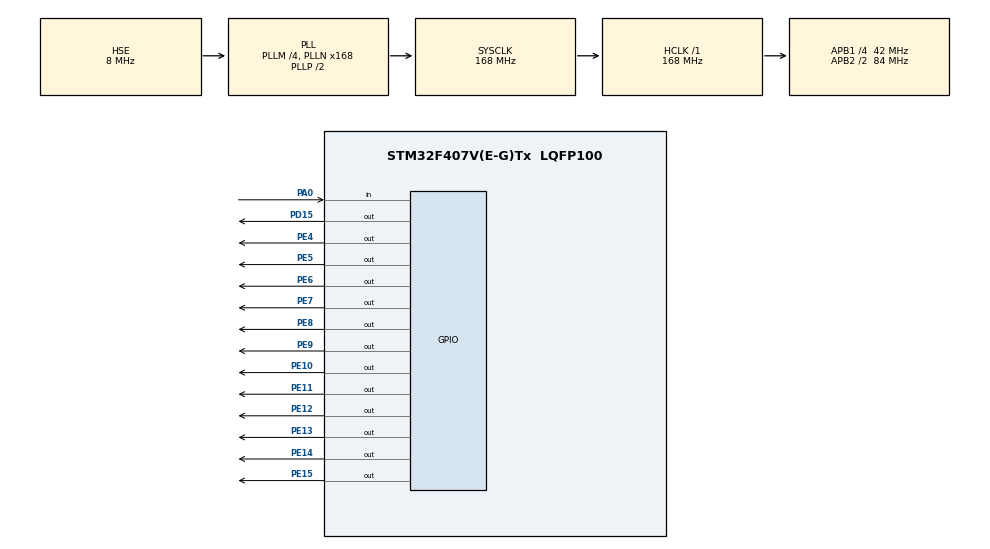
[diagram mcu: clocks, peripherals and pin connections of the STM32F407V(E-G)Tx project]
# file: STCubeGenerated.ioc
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Mcu.Family=STM32F4
Mcu.Name=STM32F407V(E-G)Tx
Mcu.Package=LQFP100
NVIC.PriorityGroup=NVIC_PRIORITYGROUP_4
NVIC.TIM5_IRQn=true\:0\:0\:true\:false\:true\:true\:true\:true
NVIC.TIM7_IRQn=true\:1\:0\:true\:false\:true\:true\:true\:true
PA0-WKUP.Signal=GPIO_Input
PD15.Signal=GPIO_Output
PE10.Signal=GPIO_Output
PE11.Signal=GPIO_Output
PE12.Signal=GPIO_Output
PE13.Signal=GPIO_Output
PE14.Signal=GPIO_Output
PE15.Signal=GPIO_Output
PE4.Signal=GPIO_Output
PE5.Signal=GPIO_Output
PE6.Signal=GPIO_Output
PE7.Signal=GPIO_Output
PE8.Signal=GPIO_Output
PE9.Signal=GPIO_Output
PH0-OSC_IN.Mode=HSE-External-Oscillator
PH0-OSC_IN.Signal=RCC_OSC_IN
PH1-OSC_OUT.Mode=HSE-External-Oscillator
PH1-OSC_OUT.Signal=RCC_OSC_OUT
ProjectManager.HeapSize=0x200
ProjectManager.StackSize=0x400
ProjectManager.TargetToolchain=MDK-ARM V5
RCC.48MHZClocksFreq_Value=84000000
RCC.AHBFreq_Value=168000000
RCC.APB1CLKDivider=RCC_HCLK_DIV4
RCC.APB1Freq_Value=42000000
RCC.APB1TimFreq_Value=84000000
RCC.APB2CLKDivider=RCC_HCLK_DIV2
RCC.APB2Freq_Value=84000000
RCC.APB2TimFreq_Value=168000000
RCC.CortexFreq_Value=168000000
RCC.HCLKFreq_Value=168000000
RCC.HSE_VALUE=8000000
RCC.HSI_VALUE=16000000
RCC.LSE_VALUE=32768
RCC.PLLM=4
RCC.PLLN=168
RCC.PLLSourceVirtual=RCC_PLLSOURCE_HSE
RCC.SYSCLKFreq_VALUE=168000000
RCC.SYSCLKSource=RCC_SYSCLKSOURCE_PLLCLK
RCC.VCOOutputFreq_Value=336000000
TIM5.Period=20-1
TIM5.Prescaler=42000-1
TIM7.Period=10-1
TIM7.Prescaler=28000-1
VP_TIM5_VS_ClockSourceINT.Mode=Internal
VP_TIM7_VS_ClockSourceINT.Mode=Enable_Timer
board=custom

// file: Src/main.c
/* USER CODE BEGIN Header */
/**
  ******************************************************************************
  * @file           : main.c
  * @brief          : Main program body
  ******************************************************************************
  * @attention
  *
  * Copyright (c) 2023 STMicroelectronics.
  * All rights reserved.
  *
  * This software is licensed under terms that can be found in the LICENSE file
  * in the root directory of this software component.
  * If no LICENSE file comes with this software, it is provided AS-IS.
  *
  ******************************************************************************
  */
/* USER CODE END Header */
#include "main.h"

TIM_HandleTypeDef htim5;
TIM_HandleTypeDef htim7;

void SystemClock_Config(void);
static void MX_GPIO_Init(void);
static void MX_TIM7_Init(void);
static void MX_TIM5_Init(void);

/* USER CODE BEGIN 0 */
int test=0;
//const char ledCode[10]={0x3F, 0x06, 0x5B, 0x4F, 0x66, 0x6D, 0x7C, 0x07, 0x7F, 0x67};
uint32_t ledCode[10]={0x3F, 0x06, 0x5B, 0x4F, 0x66, 0x6D, 0x7C, 0x07, 0x7F, 0x67};

uint32_t position=0;
uint32_t counter_sec=0;		// stopeatch value
uint32_t counter_frac=0;		// stopeatch value
uint32_t counter=0;
uint32_t display[4];	// used for 7sdisplay

// abcdefgh
// 1101101

void HAL_TIM_PeriodElapsedCallback(TIM_HandleTypeDef *htim)
{

	// display control
	if (htim == &htim7 )
  {
		counter=counter_frac+counter_sec*100;

		display[3]=counter%10;
		display[2]=(counter%100)/10;
		display[1]=(counter%1000)/100;
		display[0]=(counter)/1000;

		if (position==4)
		{
			position=0;
		} else {

			{
				// clear display
				HAL_GPIO_WritePin(GPIOE, (0xFFF<<4), 0);

				// put the point
				if (position==1)
					HAL_GPIO_WritePin(GPIOE, (128<<8), 1); //dd[position]

				// write new number
				HAL_GPIO_WritePin(GPIOE, (ledCode[display[position]]<<8)+(1<<(position+4)), 1); //dd[position]

			}
			position++;
		}
	}

	// stopwatch period 10ms
	if (htim == &htim5 )
  {
		counter_frac++;
		if (counter_frac==100)
		{
			counter_frac=0;
			counter_sec++;
		}

		if (counter_sec==100)
		{
			counter_sec=0;
			//counter_frac=0;
		}

	}

  // toggle the led on every 0.5 sec
  if (htim == &htim5 )
  {
    test++;
		if (test==50)
		{
			HAL_GPIO_TogglePin(GPIOD, GPIO_PIN_15);
			test=0;
		}

  }

	// stopwatch code
	if (htim == &htim7 )
	{

	}

}

/* USER CODE END 0 */

int main(void)
{

  /* MCU Configuration--------------------------------------------------------*/

  /* Reset of all peripherals, Initializes the Flash interface and the Systick. */
  HAL_Init();

  /* Configure the system clock */
  SystemClock_Config();

  /* Initialize all configured peripherals */
  MX_GPIO_Init();
  MX_TIM7_Init();
  MX_TIM5_Init();

  /* Infinite loop */
  /* USER CODE BEGIN WHILE */
  while (1)
  {
		if (HAL_GPIO_ReadPin(GPIOA, GPIO_PIN_0))
		{
			counter=0;
			while(HAL_GPIO_ReadPin(GPIOA, GPIO_PIN_0));

		}

    /* USER CODE END WHILE */

  }
}

void SystemClock_Config(void)
{
  RCC_OscInitTypeDef RCC_OscInitStruct = {0};
  RCC_ClkInitTypeDef RCC_ClkInitStruct = {0};

  /** Configure the main internal regulator output voltage
  */
  __HAL_RCC_PWR_CLK_ENABLE();
  __HAL_PWR_VOLTAGESCALING_CONFIG(PWR_REGULATOR_VOLTAGE_SCALE1);

  /** Initializes the RCC Oscillators according to the specified parameters
  * in the RCC_OscInitTypeDef structure.
  */
  RCC_OscInitStruct.OscillatorType = RCC_OSCILLATORTYPE_HSE;
  RCC_OscInitStruct.HSEState = RCC_HSE_ON;
  RCC_OscInitStruct.PLL.PLLState = RCC_PLL_ON;
  RCC_OscInitStruct.PLL.PLLSource = RCC_PLLSOURCE_HSE;
  RCC_OscInitStruct.PLL.PLLM = 4;
  RCC_OscInitStruct.PLL.PLLN = 168;
  RCC_OscInitStruct.PLL.PLLP = RCC_PLLP_DIV2;
  RCC_OscInitStruct.PLL.PLLQ = 4;
  if (HAL_RCC_OscConfig(&RCC_OscInitStruct) != HAL_OK)
  {
    Error_Handler();
  }

  /** Initializes the CPU, AHB and APB buses clocks
  */
  RCC_ClkInitStruct.ClockType = RCC_CLOCKTYPE_HCLK|RCC_CLOCKTYPE_SYSCLK
                              |RCC_CLOCKTYPE_PCLK1|RCC_CLOCKTYPE_PCLK2;
  RCC_ClkInitStruct.SYSCLKSource = RCC_SYSCLKSOURCE_PLLCLK;
  RCC_ClkInitStruct.AHBCLKDivider = RCC_SYSCLK_DIV1;
  RCC_ClkInitStruct.APB1CLKDivider = RCC_HCLK_DIV4;
  RCC_ClkInitStruct.APB2CLKDivider = RCC_HCLK_DIV2;

  if (HAL_RCC_ClockConfig(&RCC_ClkInitStruct, FLASH_LATENCY_5) != HAL_OK)
  {
    Error_Handler();
  }
}

static void MX_TIM5_Init(void)
{

  TIM_ClockConfigTypeDef sClockSourceConfig = {0};
  TIM_MasterConfigTypeDef sMasterConfig = {0};

  htim5.Instance = TIM5;
  htim5.Init.Prescaler = 42000-1;
  htim5.Init.CounterMode = TIM_COUNTERMODE_UP;
  htim5.Init.Period = 20-1;
  htim5.Init.ClockDivision = TIM_CLOCKDIVISION_DIV1;
  htim5.Init.AutoReloadPreload = TIM_AUTORELOAD_PRELOAD_DISABLE;
  if (HAL_TIM_Base_Init(&htim5) != HAL_OK)
  {
    Error_Handler();
  }
  sClockSourceConfig.ClockSource = TIM_CLOCKSOURCE_INTERNAL;
  if (HAL_TIM_ConfigClockSource(&htim5, &sClockSourceConfig) != HAL_OK)
  {
    Error_Handler();
  }
  sMasterConfig.MasterOutputTrigger = TIM_TRGO_RESET;
  sMasterConfig.MasterSlaveMode = TIM_MASTERSLAVEMODE_DISABLE;
  if (HAL_TIMEx_MasterConfigSynchronization(&htim5, &sMasterConfig) != HAL_OK)
  {
    Error_Handler();
  }
  /* USER CODE BEGIN TIM5_Init 2 */
	HAL_TIM_ConfigClockSource (&htim5, &sClockSourceConfig);	// configure the clock source

	HAL_TIM_Base_Init(&htim5);
	HAL_TIM_Base_Start_IT(&htim5);

  // Initialize interrupt triggering
	//HAL_NVIC_SetPriority(TIM5_IRQn, 0, 1);
  //HAL_NVIC_EnableIRQ(TIM5_IRQn);

  /* USER CODE END TIM5_Init 2 */

}

static void MX_TIM7_Init(void)
{

  /* USER CODE BEGIN TIM7_Init 0 */
	__HAL_RCC_TIM7_CLK_ENABLE();
	TIM_ClockConfigTypeDef sClockSourceConfig;
	sClockSourceConfig.ClockSource=TIM_CLOCKSOURCE_INTERNAL;
	sClockSourceConfig.ClockPrescaler=TIM_CLOCKPRESCALER_DIV1;	// no prescalar
  /* USER CODE END TIM7_Init 0 */

  TIM_MasterConfigTypeDef sMasterConfig = {0};

  htim7.Instance = TIM7;
  htim7.Init.Prescaler = 28000-1;
  htim7.Init.CounterMode = TIM_COUNTERMODE_UP;
  htim7.Init.Period = 10-1;
  htim7.Init.AutoReloadPreload = TIM_AUTORELOAD_PRELOAD_DISABLE;
  if (HAL_TIM_Base_Init(&htim7) != HAL_OK)
  {
    Error_Handler();
  }
  sMasterConfig.MasterOutputTrigger = TIM_TRGO_RESET;
  sMasterConfig.MasterSlaveMode = TIM_MASTERSLAVEMODE_DISABLE;
  if (HAL_TIMEx_MasterConfigSynchronization(&htim7, &sMasterConfig) != HAL_OK)
  {
    Error_Handler();
  }
  /* USER CODE BEGIN TIM7_Init 2 */
	HAL_TIM_ConfigClockSource (&htim7, &sClockSourceConfig);	// configure the clock source

	HAL_TIM_Base_Init(&htim7);
	HAL_TIM_Base_Start_IT(&htim7);

  // Initialize interrupt triggering
	HAL_NVIC_SetPriority(TIM7_IRQn, 1, 1);
  HAL_NVIC_EnableIRQ(TIM7_IRQn);// Enable interrupt from TIM3 (NVIC level)
  /* USER CODE END TIM7_Init 2 */

}

static void MX_GPIO_Init(void)
{
  GPIO_InitTypeDef GPIO_InitStruct = {0};

  /* GPIO Ports Clock Enable */
  __HAL_RCC_GPIOE_CLK_ENABLE();
  __HAL_RCC_GPIOH_CLK_ENABLE();
  __HAL_RCC_GPIOA_CLK_ENABLE();
  __HAL_RCC_GPIOD_CLK_ENABLE();

  /*Configure GPIO pin Output Level */
  HAL_GPIO_WritePin(GPIOE, GPIO_PIN_4|GPIO_PIN_5|GPIO_PIN_6|GPIO_PIN_7
                          |GPIO_PIN_8|GPIO_PIN_9|GPIO_PIN_10|GPIO_PIN_11
                          |GPIO_PIN_12|GPIO_PIN_13|GPIO_PIN_14|GPIO_PIN_15, GPIO_PIN_RESET);

  /*Configure GPIO pin Output Level */
  HAL_GPIO_WritePin(GPIOD, GPIO_PIN_15, GPIO_PIN_RESET);

  /*Configure GPIO pins : PE4 PE5 PE6 PE7
                           PE8 PE9 PE10 PE11
                           PE12 PE13 PE14 PE15 */
  GPIO_InitStruct.Pin = GPIO_PIN_4|GPIO_PIN_5|GPIO_PIN_6|GPIO_PIN_7
                          |GPIO_PIN_8|GPIO_PIN_9|GPIO_PIN_10|GPIO_PIN_11
                          |GPIO_PIN_12|GPIO_PIN_13|GPIO_PIN_14|GPIO_PIN_15;
  GPIO_InitStruct.Mode = GPIO_MODE_OUTPUT_PP;
  GPIO_InitStruct.Pull = GPIO_NOPULL;
  GPIO_InitStruct.Speed = GPIO_SPEED_FREQ_LOW;
  HAL_GPIO_Init(GPIOE, &GPIO_InitStruct);

  /*Configure GPIO pin : PA0 */
  GPIO_InitStruct.Pin = GPIO_PIN_0;
  GPIO_InitStruct.Mode = GPIO_MODE_INPUT;
  GPIO_InitStruct.Pull = GPIO_NOPULL;
  HAL_GPIO_Init(GPIOA, &GPIO_InitStruct);

  /*Configure GPIO pin : PD15 */
  GPIO_InitStruct.Pin = GPIO_PIN_15;
  GPIO_InitStruct.Mode = GPIO_MODE_OUTPUT_PP;
  GPIO_InitStruct.Pull = GPIO_NOPULL;
  GPIO_InitStruct.Speed = GPIO_SPEED_FREQ_LOW;
  HAL_GPIO_Init(GPIOD, &GPIO_InitStruct);

}

void Error_Handler(void)
{
  __disable_irq();
  while (1)
  {
  }
}
